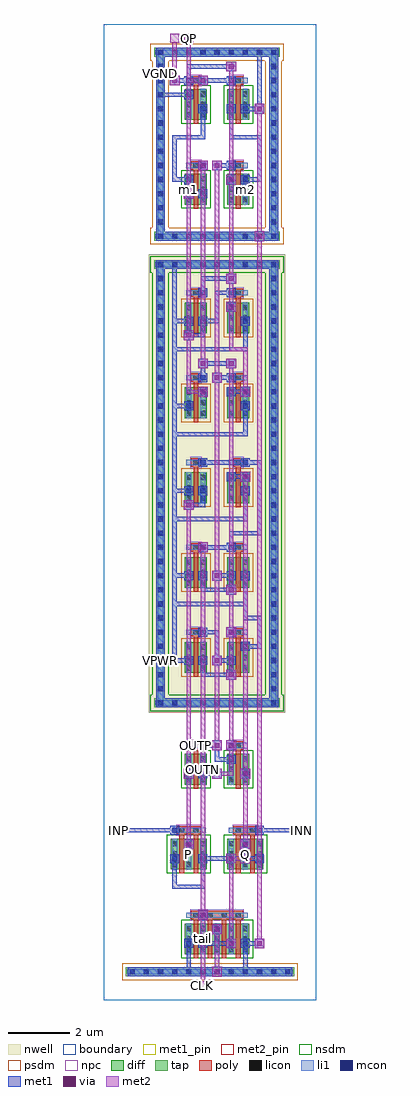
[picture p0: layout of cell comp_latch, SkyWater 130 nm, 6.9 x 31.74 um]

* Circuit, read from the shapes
.subckt comp_latch CLK INN INP OUTN OUTP P Q QN QP VGND VPWR m1 m2 tail
XM1 P INP tail VGND sky130_fd_pr__nfet_01v8 w=1 l=0.15 m=2
XM2 tail CLK VGND VGND sky130_fd_pr__nfet_01v8 w=1 l=0.15 m=4
XM3 OUTN OUTP P VGND sky130_fd_pr__nfet_01v8 w=1 l=0.15
XM4 QP OUTN m1 VGND sky130_fd_pr__nfet_01v8 w=1 l=0.15
XM5 m1 QN VGND VGND sky130_fd_pr__nfet_01v8 w=1 l=0.15
XM6 Q INN tail VGND sky130_fd_pr__nfet_01v8 w=1 l=0.15 m=2
XM7 Q OUTN OUTP VGND sky130_fd_pr__nfet_01v8 w=1 l=0.15
XM8 m2 OUTP QN VGND sky130_fd_pr__nfet_01v8 w=1 l=0.15
XM9 VGND QP m2 VGND sky130_fd_pr__nfet_01v8 w=1 l=0.15
XM10 OUTN OUTP VPWR VPWR sky130_fd_pr__pfet_01v8 w=1 l=0.15
XM11 OUTN CLK VPWR VPWR sky130_fd_pr__pfet_01v8 w=1 l=0.15
XM12 P CLK VPWR VPWR sky130_fd_pr__pfet_01v8 w=1 l=0.15
XM13 QP OUTN VPWR VPWR sky130_fd_pr__pfet_01v8 w=1 l=0.15
XM14 QP QN VPWR VPWR sky130_fd_pr__pfet_01v8 w=1 l=0.15
XM15 VPWR OUTN OUTP VPWR sky130_fd_pr__pfet_01v8 w=1 l=0.15
XM16 VPWR CLK OUTP VPWR sky130_fd_pr__pfet_01v8 w=1 l=0.15
XM17 VPWR CLK Q VPWR sky130_fd_pr__pfet_01v8 w=1 l=0.15
XM18 VPWR OUTP QN VPWR sky130_fd_pr__pfet_01v8 w=1 l=0.15
XM19 VPWR QP QN VPWR sky130_fd_pr__pfet_01v8 w=1 l=0.15
.ends

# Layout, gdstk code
import gdstk
lib = gdstk.Library(unit=1e-6, precision=1e-09)
def R(c, l, rs):  # rectangles x0, y0, x1, y1
    for r in rs: c.add(gdstk.rectangle(r[:2], r[2:], *l))
def A(c, l, x, y, w, h, nx, ny, dx, dy):  # array of equal rectangles
    R(c, l, [(x+i*dx, y+j*dy, x+i*dx+w, y+j*dy+h) for i in range(nx) for j in range(ny)])
nwell = (64, 20)
diff = (65, 20)
tap = (65, 44)
poly = (66, 20)
licon = (66, 44)
li1 = (67, 20)
mcon = (67, 44)
met1_pin = (68, 16)
met1 = (68, 20)
via = (68, 44)
met2_pin = (69, 16)
met2 = (69, 20)
nsdm = (93, 44)
psdm = (94, 20)
npc = (95, 20)
boundary = (235, 4)

comp_latch = lib.new_cell('comp_latch')
R(comp_latch, nwell, [(1.455,9.335,5.905,24.245)])
A(comp_latch, diff, 2.635, 10.64, 0.71, 1, 1, 5, 0, 2.76)
A(comp_latch, diff, 4.015, 10.64, 0.71, 1, 1, 5, 0, 2.76)
R(comp_latch, diff, [(2.635,1.485,4.725,2.485), (2.175,4.245,3.345,5.245), (4.015,4.245,5.185,5.245), (2.635,7.005,3.345,8.005), (4.015,7.005,4.725,8.005), (2.635,25.865,3.345,26.865), (4.015,25.865,4.725,26.865), (2.635,28.625,3.345,29.625), (4.015,28.625,4.725,29.625)])
R(comp_latch, tap, [(0.715,0.775,6.185,1.065), (1.635,9.515,5.725,9.805), (1.695,9.515,1.985,24.065), (5.375,9.515,5.665,24.065), (1.635,23.775,5.725,24.065), (1.635,24.695,5.725,24.985), (1.695,24.695,1.985,30.965), (5.375,24.695,5.665,30.965), (1.635,30.675,5.725,30.965)])
A(comp_latch, poly, 2.915, 1.355, 0.15, 1.405, 4, 1, 0.46, 0)
A(comp_latch, poly, 2.915, 10.51, 0.15, 1.45, 1, 5, 0, 2.76)
A(comp_latch, poly, 4.295, 10.51, 0.15, 1.45, 1, 5, 0, 2.76)
A(comp_latch, poly, 2.825, 11.825, 0.33, 0.27, 1, 5, 0, 2.76)
A(comp_latch, poly, 4.205, 11.825, 0.33, 0.27, 1, 5, 0, 2.76)
R(comp_latch, poly, [(2.825,2.625,4.535,2.895), (2.455,4.115,2.605,5.52), (2.915,4.115,3.065,5.52), (4.295,4.115,4.445,5.52), (4.755,4.115,4.905,5.52), (2.365,5.385,3.155,5.655), (4.205,5.385,4.995,5.655), (2.915,6.875,3.065,8.28), (4.295,6.875,4.445,8.28), (2.825,8.145,3.155,8.415), (4.205,8.145,4.535,8.415), (2.915,25.735,3.065,27.14), (4.295,25.735,4.445,27.14), (2.825,27.005,3.155,27.275), (4.205,27.005,4.535,27.275), (2.915,28.495,3.065,29.9), (4.295,28.495,4.445,29.9), (2.825,29.765,3.155,30.035), (4.205,29.765,4.535,30.035)])
A(comp_latch, licon, 0.835, 0.835, 0.17, 0.17, 12, 1, 0.46, 0)
A(comp_latch, licon, 2.675, 1.56, 0.17, 0.17, 5, 3, 0.46, 0.34)
A(comp_latch, licon, 2.905, 2.675, 0.17, 0.17, 4, 1, 0.46, 0)
A(comp_latch, licon, 2.215, 4.32, 0.17, 0.17, 3, 3, 0.46, 0.34)
A(comp_latch, licon, 4.055, 4.32, 0.17, 0.17, 3, 3, 0.46, 0.34)
A(comp_latch, licon, 2.675, 7.08, 0.17, 0.17, 1, 3, 0, 0.34)
A(comp_latch, licon, 3.135, 7.08, 0.17, 0.17, 1, 3, 0, 0.34)
A(comp_latch, licon, 4.055, 7.08, 0.17, 0.17, 1, 3, 0, 0.34)
A(comp_latch, licon, 4.515, 7.08, 0.17, 0.17, 1, 3, 0, 0.34)
A(comp_latch, licon, 1.755, 9.575, 0.17, 0.17, 9, 2, 0.46, 14.26)
A(comp_latch, licon, 1.755, 10.035, 0.17, 0.17, 1, 30, 0, 0.46)
A(comp_latch, licon, 5.435, 10.035, 0.17, 0.17, 1, 30, 0, 0.46)
A(comp_latch, licon, 2.675, 10.715, 0.17, 0.17, 1, 3, 0, 0.34)
A(comp_latch, licon, 3.135, 10.715, 0.17, 0.17, 1, 3, 0, 0.34)
A(comp_latch, licon, 4.055, 10.715, 0.17, 0.17, 1, 3, 0, 0.34)
A(comp_latch, licon, 4.515, 10.715, 0.17, 0.17, 1, 3, 0, 0.34)
A(comp_latch, licon, 2.905, 11.875, 0.17, 0.17, 1, 5, 0, 2.76)
A(comp_latch, licon, 4.285, 11.875, 0.17, 0.17, 1, 5, 0, 2.76)
A(comp_latch, licon, 2.675, 13.475, 0.17, 0.17, 1, 3, 0, 0.34)
A(comp_latch, licon, 3.135, 13.475, 0.17, 0.17, 1, 3, 0, 0.34)
A(comp_latch, licon, 4.055, 13.475, 0.17, 0.17, 1, 3, 0, 0.34)
A(comp_latch, licon, 4.515, 13.475, 0.17, 0.17, 1, 3, 0, 0.34)
A(comp_latch, licon, 2.675, 16.235, 0.17, 0.17, 1, 3, 0, 0.34)
A(comp_latch, licon, 3.135, 16.235, 0.17, 0.17, 1, 3, 0, 0.34)
A(comp_latch, licon, 4.055, 16.235, 0.17, 0.17, 1, 3, 0, 0.34)
A(comp_latch, licon, 4.515, 16.235, 0.17, 0.17, 1, 3, 0, 0.34)
A(comp_latch, licon, 2.675, 18.995, 0.17, 0.17, 1, 3, 0, 0.34)
A(comp_latch, licon, 3.135, 18.995, 0.17, 0.17, 1, 3, 0, 0.34)
A(comp_latch, licon, 4.055, 18.995, 0.17, 0.17, 1, 3, 0, 0.34)
A(comp_latch, licon, 4.515, 18.995, 0.17, 0.17, 1, 3, 0, 0.34)
A(comp_latch, licon, 2.675, 21.755, 0.17, 0.17, 1, 3, 0, 0.34)
A(comp_latch, licon, 3.135, 21.755, 0.17, 0.17, 1, 3, 0, 0.34)
A(comp_latch, licon, 4.055, 21.755, 0.17, 0.17, 1, 3, 0, 0.34)
A(comp_latch, licon, 4.515, 21.755, 0.17, 0.17, 1, 3, 0, 0.34)
A(comp_latch, licon, 1.755, 24.755, 0.17, 0.17, 9, 2, 0.46, 5.98)
A(comp_latch, licon, 1.755, 25.215, 0.17, 0.17, 1, 12, 0, 0.46)
A(comp_latch, licon, 5.435, 25.215, 0.17, 0.17, 1, 12, 0, 0.46)
A(comp_latch, licon, 2.675, 25.94, 0.17, 0.17, 1, 3, 0, 0.34)
A(comp_latch, licon, 3.135, 25.94, 0.17, 0.17, 1, 3, 0, 0.34)
A(comp_latch, licon, 4.055, 25.94, 0.17, 0.17, 1, 3, 0, 0.34)
A(comp_latch, licon, 4.515, 25.94, 0.17, 0.17, 1, 3, 0, 0.34)
A(comp_latch, licon, 2.675, 28.7, 0.17, 0.17, 1, 3, 0, 0.34)
A(comp_latch, licon, 3.135, 28.7, 0.17, 0.17, 1, 3, 0, 0.34)
A(comp_latch, licon, 4.055, 28.7, 0.17, 0.17, 1, 3, 0, 0.34)
A(comp_latch, licon, 4.515, 28.7, 0.17, 0.17, 1, 3, 0, 0.34)
R(comp_latch, licon, [(2.445,5.435,2.615,5.605), (2.905,5.435,3.075,5.605), (4.285,5.435,4.455,5.605), (4.745,5.435,4.915,5.605), (2.905,8.195,3.075,8.365), (4.285,8.195,4.455,8.365), (2.905,27.055,3.075,27.225), (4.285,27.055,4.455,27.225), (2.905,29.815,3.075,29.985), (4.285,29.815,4.455,29.985)])
A(comp_latch, li1, 2.675, 1.48, 0.17, 1.01, 5, 1, 0.46, 0)
A(comp_latch, li1, 2.215, 4.24, 0.17, 1.01, 3, 1, 0.46, 0)
A(comp_latch, li1, 4.055, 4.24, 0.17, 1.01, 3, 1, 0.46, 0)
A(comp_latch, li1, 2.675, 10.635, 0.17, 1.01, 1, 5, 0, 2.76)
A(comp_latch, li1, 3.135, 10.635, 0.17, 1.01, 1, 5, 0, 2.76)
A(comp_latch, li1, 4.055, 10.635, 0.17, 1.01, 1, 5, 0, 2.76)
A(comp_latch, li1, 4.515, 10.635, 0.17, 1.01, 1, 5, 0, 2.76)
A(comp_latch, li1, 2.675, 11.875, 0.63, 0.17, 1, 5, 0, 2.76)
A(comp_latch, li1, 4.055, 11.875, 0.63, 0.17, 1, 5, 0, 2.76)
R(comp_latch, li1, [(0.755,0.835,6.145,1.005), (2.675,2.675,4.685,2.845), (2.215,5.435,3.305,5.605), (4.055,5.435,5.145,5.605), (2.675,7,2.845,8.01), (3.135,7,3.305,8.01), (4.055,7,4.225,8.01), (4.515,7,4.685,8.01), (2.675,8.195,3.305,8.365), (4.055,8.195,4.685,8.365), (1.675,9.575,5.685,9.745), (1.755,9.575,1.925,24.005), (5.435,9.575,5.605,24.005), (1.675,23.835,5.685,24.005), (1.675,24.755,5.685,24.925), (1.755,24.755,1.925,30.905), (5.435,24.755,5.605,30.905), (2.675,25.86,2.845,26.87), (3.135,25.86,3.305,26.87), (4.055,25.86,4.225,26.87), (4.515,25.86,4.685,26.87), (2.675,27.055,3.305,27.225), (4.055,27.055,4.685,27.225), (2.675,28.62,2.845,29.63), (3.135,28.62,3.305,29.63), (4.055,28.62,4.225,29.63), (4.515,28.62,4.685,29.63), (2.675,29.815,3.305,29.985), (4.055,29.815,4.685,29.985), (1.675,30.735,5.685,30.905)])
A(comp_latch, mcon, 0.835, 0.835, 0.17, 0.17, 12, 1, 0.46, 0)
A(comp_latch, mcon, 2.215, 4.515, 0.17, 0.17, 4, 1, 0.92, 0)
A(comp_latch, mcon, 1.755, 9.575, 0.17, 0.17, 9, 2, 0.46, 14.26)
A(comp_latch, mcon, 1.755, 10.035, 0.17, 0.17, 1, 16, 0, 0.46)
A(comp_latch, mcon, 5.435, 10.035, 0.17, 0.17, 1, 30, 0, 0.46)
A(comp_latch, mcon, 2.675, 10.955, 0.17, 0.17, 1, 5, 0, 2.76)
A(comp_latch, mcon, 4.515, 13.715, 0.17, 0.17, 1, 4, 0, 2.76)
A(comp_latch, mcon, 1.755, 17.395, 0.17, 0.17, 3, 1, 1.38, 0)
A(comp_latch, mcon, 1.755, 17.855, 0.17, 0.17, 1, 13, 0, 0.46)
A(comp_latch, mcon, 1.755, 24.755, 0.17, 0.17, 9, 2, 0.46, 5.98)
A(comp_latch, mcon, 1.755, 25.215, 0.17, 0.17, 1, 12, 0, 0.46)
A(comp_latch, mcon, 5.435, 25.215, 0.17, 0.17, 1, 10, 0, 0.46)
A(comp_latch, mcon, 2.675, 29.815, 0.17, 0.17, 3, 1, 1.38, 0)
R(comp_latch, mcon, [(2.675,1.755,2.845,1.925), (3.135,1.755,3.305,1.925), (4.055,1.755,4.225,1.925), (4.515,1.755,4.685,1.925), (3.595,2.215,3.765,2.385), (3.135,2.675,3.305,2.845), (2.675,4.975,2.845,5.145), (4.515,4.975,4.685,5.145), (2.215,5.435,2.385,5.605), (4.975,5.435,5.145,5.605), (2.675,7.275,2.845,7.445), (3.135,7.275,3.305,7.445), (4.515,7.275,4.685,7.445), (4.055,7.735,4.225,7.905), (3.135,8.195,3.305,8.365), (4.055,8.195,4.225,8.365), (3.135,10.955,3.305,11.125), (4.055,10.955,4.225,11.125), (4.515,11.415,4.685,11.585), (3.135,11.875,3.305,12.045), (4.055,11.875,4.225,12.045), (3.135,13.715,3.305,13.885), (4.055,13.715,4.225,13.885), (3.135,14.635,3.305,14.805), (4.055,14.635,4.225,14.805), (3.135,16.475,3.305,16.645), (4.055,16.935,4.225,17.105), (3.135,19.695,3.305,19.865), (4.055,19.695,4.225,19.865), (3.135,20.155,3.305,20.325), (4.055,20.155,4.225,20.325), (3.135,21.995,3.305,22.165), (4.055,22.455,4.225,22.625), (3.135,22.915,3.305,23.085), (4.055,22.915,4.225,23.085), (3.135,26.135,3.305,26.305), (2.675,26.595,2.845,26.765), (4.055,26.595,4.225,26.765), (4.515,26.595,4.685,26.765), (3.135,27.055,3.305,27.225), (4.055,27.055,4.225,27.225), (3.135,28.895,3.305,29.065), (4.055,28.895,4.225,29.065), (4.515,28.895,4.685,29.065), (2.675,29.355,2.845,29.525), (5.435,30.275,5.605,30.445)])
R(comp_latch, met1_pin, [(1.77,10.97,1.91,11.11), (1.77,29.37,1.91,30.89)])
A(comp_latch, met1, 2.155, 4.455, 0.29, 0.29, 4, 1, 0.92, 0)
A(comp_latch, met1, 2.6, 7.2, 0.32, 0.32, 3, 1, 0.92, 0)
A(comp_latch, met1, 3.52, 8.12, 0.32, 0.32, 1, 3, 0, 2.76)
A(comp_latch, met1, 3.98, 10.42, 0.32, 0.32, 1, 3, 0, 1.38)
A(comp_latch, met1, 3.15, 10.51, 0.14, 0.6, 1, 3, 0, 2.76)
A(comp_latch, met1, 2.615, 10.895, 0.29, 0.29, 1, 5, 0, 2.76)
A(comp_latch, met1, 2.23, 10.97, 0.14, 2.9, 1, 4, 0, 2.76)
A(comp_latch, met1, 2.23, 12.81, 2.44, 0.14, 1, 4, 0, 2.76)
A(comp_latch, met1, 4.53, 12.81, 0.14, 1.06, 1, 4, 0, 2.76)
A(comp_latch, met1, 2.23, 13.73, 0.6, 0.14, 1, 4, 0, 2.76)
A(comp_latch, met1, 3.15, 20.17, 0.14, 0.6, 1, 3, 0, 1.38)
R(comp_latch, met1, [(3.52,0.76,3.84,1.08), (0.775,0.775,6.125,1.065), (2.69,0.85,2.83,1.91), (2.69,0.85,3.75,0.99), (3.61,0.85,4.67,0.99), (3.61,0.85,3.75,0.99), (4.53,0.85,4.67,1.91), (3.98,1.68,4.3,2), (4.9,1.68,5.22,2), (2.615,1.695,2.905,1.985), (3.075,1.695,3.365,1.985), (3.995,1.695,4.285,1.985), (4.455,1.695,4.745,1.985), (3.15,1.77,4.21,1.91), (4.53,1.77,5.13,1.91), (3.52,2.14,3.84,2.46), (3.535,2.155,3.825,2.445), (3.06,2.6,3.38,2.92), (3.075,2.615,3.365,2.905), (2.23,3.61,2.37,4.67), (2.23,3.61,3.29,3.75), (3.15,3.61,3.29,4.67), (3.98,4.44,4.3,4.76), (4.44,4.44,4.76,4.76), (3.15,4.53,4.21,4.67), (4.53,4.53,5.13,4.67), (2.6,4.9,2.92,5.22), (4.44,4.9,4.76,5.22), (2.615,4.915,2.905,5.205), (4.455,4.915,4.745,5.205), (0.3,5.36,0.62,5.68), (6.28,5.36,6.6,5.68), (2.155,5.375,2.445,5.665), (4.915,5.375,5.205,5.665), (0.39,5.45,2.37,5.59), (4.99,5.45,6.51,5.59), (2.615,7.215,2.905,7.505), (3.075,7.215,3.365,7.505), (4.455,7.215,4.745,7.505), (3.15,7.29,3.75,7.43), (3.995,7.675,4.285,7.965), (3.61,7.75,4.21,7.89), (3.61,7.75,3.75,8.35), (3.98,8.12,4.3,8.44), (3.075,8.135,3.365,8.425), (3.995,8.135,4.285,8.425), (3.15,8.21,3.75,8.35), (1.695,9.515,1.985,24.065), (1.695,9.515,5.665,9.805), (5.375,9.515,5.665,24.065), (3.15,10.51,4.21,10.65), (3.075,10.895,3.365,11.185), (3.995,10.895,4.285,11.185), (1.77,10.97,2.83,11.11), (1.77,10.97,1.91,11.11), (3.61,10.97,3.75,12.03), (3.61,10.97,4.21,11.11), (4.455,11.355,4.745,11.645), (4.53,11.43,5.13,11.57), (4.99,11.43,5.13,12.49), (3.075,11.815,3.365,12.105), (3.995,11.815,4.285,12.105), (3.15,11.89,3.75,12.03), (4.53,12.35,5.13,12.49), (4.53,12.35,4.67,12.95), (3.15,13.27,4.21,13.41), (3.075,13.655,3.365,13.945), (3.995,13.655,4.285,13.945), (4.455,13.655,4.745,13.945), (3.61,13.73,4.21,13.87), (3.06,14.56,3.38,14.88), (3.075,14.575,3.365,14.865), (3.995,14.575,4.285,14.865), (3.15,14.65,4.21,14.79), (4.07,14.65,4.21,15.25), (4.07,15.11,5.13,15.25), (4.99,15.11,5.13,17.55), (2.6,15.94,2.92,16.26), (2.69,16.03,3.29,16.17), (3.075,16.415,3.365,16.705), (4.455,16.415,4.745,16.705), (4.44,16.86,4.76,17.18), (3.995,16.875,4.285,17.165), (4.07,16.95,4.67,17.09), (3.075,17.335,3.365,17.625), (4.455,17.335,4.745,17.625), (3.15,17.41,4.67,17.55), (4.53,17.41,5.13,17.55), (4.455,19.175,4.745,19.465), (3.06,19.62,3.38,19.94), (4.44,19.62,4.76,19.94), (3.075,19.635,3.365,19.925), (3.995,19.635,4.285,19.925), (4.07,19.71,4.67,19.85), (3.52,20.08,3.84,20.4), (3.075,20.095,3.365,20.385), (3.995,20.095,4.285,20.385), (3.61,20.17,4.21,20.31), (3.06,20.54,3.38,20.86), (3.98,20.54,4.3,20.86), (3.15,20.63,4.21,20.77), (2.6,21.46,2.92,21.78), (2.69,21.55,3.29,21.69), (3.075,21.935,3.365,22.225), (4.455,21.935,4.745,22.225), (2.23,22.01,2.37,23.99), (3.15,22.01,3.75,22.15), (3.61,22.01,3.75,23.07), (3.98,22.38,4.3,22.7), (3.995,22.395,4.285,22.685), (3.075,22.855,3.365,23.145), (3.995,22.855,4.285,23.145), (3.61,22.93,4.21,23.07), (3.98,23.3,4.3,23.62), (3.15,23.39,4.21,23.53), (1.695,23.775,5.665,24.065), (2.23,23.85,2.37,23.99), (4.9,24.68,5.22,25), (1.695,24.695,5.665,24.985), (1.695,24.695,1.985,30.965), (5.375,24.695,5.665,30.965), (4.99,24.77,5.13,24.91), (2.6,26.06,2.92,26.38), (3.075,26.075,3.365,26.365), (2.69,26.15,3.29,26.29), (3.98,26.52,4.3,26.84), (2.615,26.535,2.905,26.825), (3.995,26.535,4.285,26.825), (4.455,26.535,4.745,26.825), (2.23,26.61,2.83,26.75), (2.23,26.61,2.37,28.13), (4.53,26.61,5.13,26.75), (4.99,26.61,5.13,28.13), (3.06,26.98,3.38,27.3), (3.52,26.98,3.84,27.3), (3.075,26.995,3.365,27.285), (3.995,26.995,4.285,27.285), (3.61,27.07,4.21,27.21), (2.23,27.99,3.29,28.13), (3.15,27.99,3.29,29.05), (4.07,27.99,4.21,29.05), (4.07,27.99,5.13,28.13), (4.9,28.82,5.22,29.14), (3.075,28.835,3.365,29.125), (3.995,28.835,4.285,29.125), (4.455,28.835,4.745,29.125), (4.53,28.91,5.13,29.05), (4.99,28.91,5.13,30.89), (2.615,29.295,2.905,29.585), (1.77,29.37,2.83,29.51), (1.77,29.37,1.91,30.89), (2.14,29.74,2.46,30.06), (3.06,29.74,3.38,30.06), (2.615,29.755,2.905,30.045), (3.995,29.755,4.285,30.045), (2.23,29.83,2.83,29.97), (2.69,29.83,2.83,30.43), (3.15,29.83,4.21,29.97), (3.98,30.2,4.3,30.52), (2.69,30.29,4.21,30.43), (1.695,30.675,5.665,30.965), (1.77,30.75,5.13,30.89), (4.99,30.75,5.13,30.89)])
A(comp_latch, via, 2.685, 7.285, 0.15, 0.15, 3, 1, 0.92, 0)
A(comp_latch, via, 3.605, 8.205, 0.15, 0.15, 1, 3, 0, 2.76)
A(comp_latch, via, 4.065, 10.505, 0.15, 0.15, 1, 3, 0, 1.38)
R(comp_latch, via, [(3.605,0.845,3.755,0.995), (4.065,1.765,4.215,1.915), (4.985,1.765,5.135,1.915), (3.605,2.225,3.755,2.375), (3.145,2.685,3.295,2.835), (4.065,4.525,4.215,4.675), (4.525,4.525,4.675,4.675), (2.685,4.985,2.835,5.135), (4.525,4.985,4.675,5.135), (0.385,5.445,0.535,5.595), (6.365,5.445,6.515,5.595), (4.065,8.205,4.215,8.355), (3.145,14.645,3.295,14.795), (2.685,16.025,2.835,16.175), (4.525,16.945,4.675,17.095), (3.145,19.705,3.295,19.855), (4.525,19.705,4.675,19.855), (3.605,20.165,3.755,20.315), (3.145,20.625,3.295,20.775), (4.065,20.625,4.215,20.775), (2.685,21.545,2.835,21.695), (4.065,22.465,4.215,22.615), (4.065,23.385,4.215,23.535), (4.985,24.765,5.135,24.915), (2.685,26.145,2.835,26.295), (4.065,26.605,4.215,26.755), (3.145,27.065,3.295,27.215), (3.605,27.065,3.755,27.215), (4.985,28.905,5.135,29.055), (2.225,29.825,2.375,29.975), (3.145,29.825,3.295,29.975), (4.065,30.285,4.215,30.435)])
R(comp_latch, met2_pin, [(3.07,0.31,3.37,0.61), (0.31,5.37,0.61,5.67), (6.29,5.37,6.59,5.67), (2.15,31.13,2.45,31.43), (2.61,31.13,2.91,31.43)])
A(comp_latch, met2, 2.6, 7.2, 0.32, 0.32, 3, 1, 0.92, 0)
A(comp_latch, met2, 3.52, 8.12, 0.32, 0.32, 1, 3, 0, 2.76)
A(comp_latch, met2, 3.98, 10.42, 0.32, 0.32, 1, 3, 0, 1.38)
R(comp_latch, met2, [(3.07,0.31,3.37,0.61), (3.15,0.39,3.29,0.53), (3.15,0.39,3.29,2.83), (3.52,0.76,3.84,1.08), (3.61,0.85,3.75,2.37), (3.98,1.68,4.3,2), (4.9,1.68,5.22,2), (4.07,1.77,4.21,4.67), (4.99,1.77,5.13,24.91), (3.52,2.14,3.84,2.46), (3.06,2.6,3.38,2.92), (3.15,2.69,3.29,14.79), (3.98,4.44,4.3,4.76), (4.44,4.44,4.76,4.76), (4.07,4.53,4.67,4.67), (2.6,4.9,2.92,5.22), (4.44,4.9,4.76,5.22), (2.69,4.99,2.83,7.43), (4.53,4.99,4.67,7.43), (0.3,5.36,0.62,5.68), (6.28,5.36,6.6,5.68), (0.31,5.37,0.61,5.67), (6.29,5.37,6.59,5.67), (0.39,5.45,0.53,5.59), (6.37,5.45,6.51,5.59), (2.69,7.29,2.83,16.17), (3.61,7.29,4.21,7.43), (4.07,7.29,4.21,8.35), (4.53,7.29,4.67,17.09), (3.98,8.12,4.3,8.44), (3.61,8.21,3.75,11.11), (4.07,8.21,4.21,12.03), (3.61,10.97,3.75,13.87), (4.07,11.89,4.21,13.41), (4.07,13.27,4.21,20.77), (3.61,13.73,3.75,20.31), (3.06,14.56,3.38,14.88), (2.6,15.94,2.92,16.26), (4.44,16.86,4.76,17.18), (3.06,19.62,3.38,19.94), (4.44,19.62,4.76,19.94), (2.69,19.71,3.29,19.85), (2.69,19.71,2.83,21.69), (4.53,19.71,4.67,21.23), (3.52,20.08,3.84,20.4), (3.61,20.17,3.75,27.21), (3.06,20.54,3.38,20.86), (3.98,20.54,4.3,20.86), (3.15,20.63,3.29,27.21), (4.07,21.09,4.67,21.23), (4.07,21.09,4.21,22.61), (2.6,21.46,2.92,21.78), (2.69,21.55,2.83,26.29), (3.98,22.38,4.3,22.7), (4.07,22.47,4.21,26.75), (3.98,23.3,4.3,23.62), (4.9,24.68,5.22,25), (4.99,24.77,5.13,29.05), (2.6,26.06,2.92,26.38), (2.69,26.15,2.83,31.35), (3.98,26.52,4.3,26.84), (4.07,26.61,4.21,30.43), (3.06,26.98,3.38,27.3), (3.52,26.98,3.84,27.3), (4.9,28.82,5.22,29.14), (2.14,29.74,2.46,30.06), (3.06,29.74,3.38,30.06), (2.23,29.83,2.37,31.35), (2.69,29.83,3.29,29.97), (3.98,30.2,4.3,30.52), (2.15,31.13,2.45,31.43), (2.61,31.13,2.91,31.43), (2.23,31.21,2.37,31.35), (2.69,31.21,2.83,31.35)])
R(comp_latch, nsdm, [(2.51,1.36,4.85,2.61), (2.05,4.12,3.47,5.37), (3.89,4.12,5.31,5.37), (2.51,6.88,3.47,8.13), (3.89,6.88,4.85,8.13), (1.51,9.39,5.85,9.93), (1.57,9.93,2.11,23.65), (5.25,9.93,5.79,23.65), (1.51,23.65,5.85,24.19), (2.51,25.74,3.47,26.99), (3.89,25.74,4.85,26.99), (2.51,28.5,3.47,29.75), (3.89,28.5,4.85,29.75)])
A(comp_latch, psdm, 2.51, 10.515, 0.96, 1.25, 1, 5, 0, 2.76)
A(comp_latch, psdm, 3.89, 10.515, 0.96, 1.25, 1, 5, 0, 2.76)
R(comp_latch, psdm, [(0.59,0.65,6.31,1.19), (1.51,24.57,5.85,25.11), (1.57,25.11,2.11,30.55), (5.25,25.11,5.79,30.55), (1.51,30.55,5.85,31.09)])
A(comp_latch, npc, 2.805, 11.775, 0.37, 0.37, 1, 5, 0, 2.76)
A(comp_latch, npc, 4.185, 11.775, 0.37, 0.37, 1, 5, 0, 2.76)
R(comp_latch, npc, [(2.805,2.575,4.555,2.945), (2.345,5.335,3.175,5.705), (4.185,5.335,5.015,5.705), (2.805,8.095,3.175,8.465), (4.185,8.095,4.555,8.465), (2.805,26.955,3.175,27.325), (4.185,26.955,4.555,27.325), (2.805,29.715,3.175,30.085), (4.185,29.715,4.555,30.085)])
R(comp_latch, boundary, [(0,0,6.9,31.74)])
comp_latch.add(gdstk.Label('tail', (3.22,1.985), layer=67, texttype=5))
comp_latch.add(gdstk.Label('P', (2.76,4.745), layer=67, texttype=5))
comp_latch.add(gdstk.Label('Q', (4.6,4.745), layer=67, texttype=5))
comp_latch.add(gdstk.Label('OUTP', (2.99,8.28), layer=67, texttype=5))
comp_latch.add(gdstk.Label('OUTN', (3.22,7.505), layer=67, texttype=5))
comp_latch.add(gdstk.Label('m1', (2.76,26.365), layer=67, texttype=5))
comp_latch.add(gdstk.Label('m2', (4.6,26.365), layer=67, texttype=5))
comp_latch.add(gdstk.Label('VPWR', (1.84,11.04), layer=68, texttype=5))
comp_latch.add(gdstk.Label('VGND', (1.84,30.13), layer=68, texttype=5))
comp_latch.add(gdstk.Label('CLK', (3.22,0.46), layer=69, texttype=5))
comp_latch.add(gdstk.Label('INP', (0.46,5.52), layer=69, texttype=5))
comp_latch.add(gdstk.Label('INN', (6.44,5.52), layer=69, texttype=5))
comp_latch.add(gdstk.Label('QP', (2.76,31.28), layer=69, texttype=5))
comp_latch.add(gdstk.Label('QN', (2.3,31.28), layer=69, texttype=5))
comp_latch.add(gdstk.Label('VPWR', (1.84,11.04), layer=68, texttype=16))
comp_latch.add(gdstk.Label('VGND', (1.84,30.13), layer=68, texttype=16))
comp_latch.add(gdstk.Label('CLK', (3.22,0.46), layer=69, texttype=16))
comp_latch.add(gdstk.Label('INP', (0.46,5.52), layer=69, texttype=16))
comp_latch.add(gdstk.Label('INN', (6.44,5.52), layer=69, texttype=16))
comp_latch.add(gdstk.Label('QP', (2.76,31.28), layer=69, texttype=16))
comp_latch.add(gdstk.Label('QN', (2.3,31.28), layer=69, texttype=16))

lib.write_gds('comp_latch.gds')
